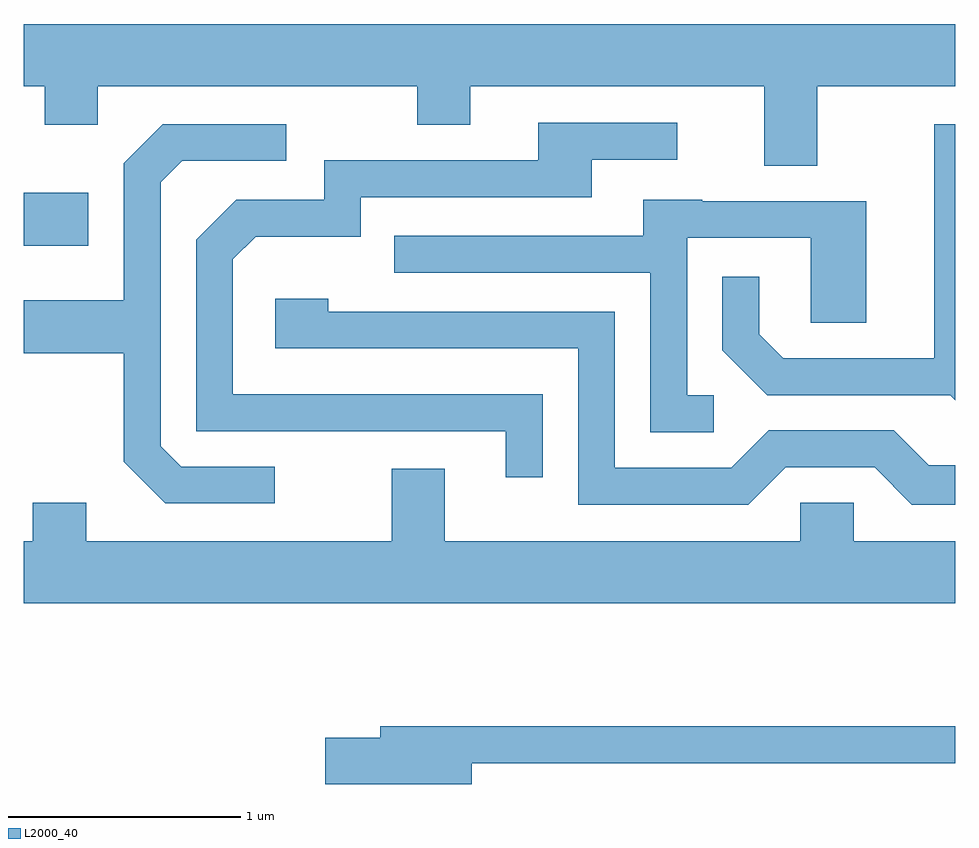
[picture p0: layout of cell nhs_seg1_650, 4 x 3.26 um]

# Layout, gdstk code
import gdstk
lib = gdstk.Library(unit=1e-6, precision=1e-09)
def R(c, l, rs):  # rectangles x0, y0, x1, y1
    for r in rs: c.add(gdstk.rectangle(r[:2], r[2:], *l))
def P(c, l, *ps):  # polygons
    for p in ps: c.add(gdstk.Polygon(p, *l))
L2000_40 = (2000, 40)

nhs_seg1_650 = lib.new_cell('nhs_seg1_650')
R(nhs_seg1_650, L2000_40, [(203.611,974.371,203.889,974.599)])
P(nhs_seg1_650, L2000_40, [(207.019,975.056),(207.611,975.056),(207.611,975.324),(203.611,975.324),(203.611,975.056),(203.701,975.056),(203.701,974.891),(203.929,974.891),(203.929,975.056),(205.301,975.056),(205.301,974.891),(205.529,974.891),(205.529,975.056),(206.791,975.056),(206.791,974.716),(207.019,974.716)],
  [(205.839,973.734),(204.509,973.734),(204.509,974.314),(204.607,974.411),(205.059,974.411),(205.059,974.581),(206.049,974.581),(206.049,974.741),(206.418,974.741),(206.418,974.899),(205.821,974.899),(205.821,974.739),(204.901,974.739),(204.901,974.569),(204.524,974.569),(204.351,974.397),(204.351,973.576),(205.681,973.576),(205.681,973.378),(205.839,973.378)],
  [(204.688,973.424),(204.287,973.424),(204.199,973.512),(204.199,974.644),(204.292,974.736),(204.738,974.736),(204.738,974.894),(204.209,974.894),(204.041,974.727),(204.041,974.139),(203.611,974.139),(203.611,973.911),(204.041,973.911),(204.041,973.444),(204.219,973.266),(204.688,973.266)],
  [(207.611,974.894),(207.521,974.894),(207.521,973.889),(206.872,973.889),(206.769,973.992),(206.769,974.238),(206.611,974.238),(206.611,973.924),(206.804,973.731),(207.589,973.731),(207.611,973.709)],
  [(206.573,973.729),(206.459,973.729),(206.459,974.406),(206.991,974.406),(206.991,974.041),(207.229,974.041),(207.229,974.564),(206.525,974.564),(206.525,974.569),(206.271,974.569),(206.271,974.414),(205.203,974.414),(205.203,974.256),(206.301,974.256),(206.301,973.571),(206.573,973.571)],
  [(206.882,973.421),(207.264,973.421),(207.424,973.261),(207.611,973.261),(207.611,973.429),(207.497,973.429),(207.347,973.579),(206.809,973.579),(206.649,973.419),(206.149,973.419),(206.149,974.089),(204.919,974.089),(204.919,974.144),(204.691,974.144),(204.691,973.931),(205.991,973.931),(205.991,973.261),(206.722,973.261)],
  [(207.611,973.104),(207.174,973.104),(207.174,973.269),(206.946,973.269),(206.946,973.104),(205.419,973.104),(205.419,973.414),(205.191,973.414),(205.191,973.104),(203.879,973.104),(203.879,973.269),(203.651,973.269),(203.651,973.104),(203.611,973.104),(203.611,972.836),(207.611,972.836)],
  [(205.534,972.151),(207.611,972.151),(207.611,972.309),(205.141,972.309),(205.141,972.259),(204.906,972.259),(204.906,972.061),(205.534,972.061)])

lib.write_gds('nhs_seg1_650.gds')
